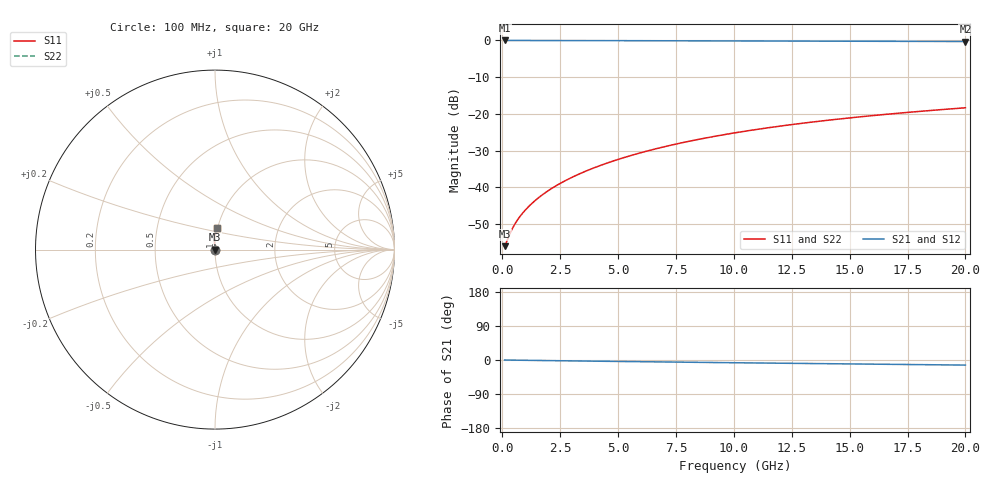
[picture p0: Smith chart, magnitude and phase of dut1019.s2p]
! Touchstone file exported from HFSS 2024.1.0
!  File:  C:/UserFiles/LocalFiles/RDL_TSV_Batchsim/temp_RDL_bottom_1019_1780050682.aedt
!  Generated:  06:33:29 PM May 29, 2026
!  Design:  RDL_bottom
!  Project:  temp_RDL_bottom_1019_1780050682
!  Setup:  Setup1
!  Solution:  Sweep
! Variables:
!  dtsv = 10.80580581um
!  hbump = 3um
!  htsv = 89.97um
!  ldown = 182.36um
!  lrdl = 100um
!  p = 40
!  p1 = 44.68um
!  rhole = 1um
!  t = 450um
!  tdown = 2.18um
!  trdl = 3.915915916um
!  wdown = 28.58um
!  wrdl = 20um
# GHz S MA R 50.000000
! Terminal data exported
! Port[1] = RDL1_T1
! Port[2] = RDL1_T2
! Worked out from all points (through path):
!   200 points, 100 MHz to 20 GHz, reference 50 ohm
!   highest |S21| = -0.01 dB at 100 MHz (marker M1); lowest = -0.3 dB at 20 GHz (marker M2)
!   group delay of S21, straight-line fit = 1.84 ps
!   lowest |S11| = -56.0 dB at 100 MHz (marker M3), VSWR 1.00, Z = 50.1 + j0.054 ohm
!   |S11| at or under -10 dB: start of sweep to end of sweep
!   |S22| runs from -56.0 to -18.3 dB; largest |S21 - S12| = 5.1e-15
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0.1  0.001578 19.9  0.9985 -0.1  0.9985 -0.1  0.001578 19.9
! Gamma 0 0 0 0
! Port Impedance 50 0 50 0
0.4  0.002606 50.7  0.9983 -0.3  0.9983 -0.3  0.002606 50.7
0.5  0.002994 55.4  0.9982 -0.4  0.9982 -0.4  0.002994 55.4
0.6  0.003379 59.1  0.9981 -0.5  0.9981 -0.5  0.003379 59.1
0.7  0.003763 62.1  0.998 -0.6  0.998 -0.6  0.003763 62.1
0.9  0.004534 66.9  0.9979 -0.7  0.9979 -0.7  0.004534 66.9
1.2  0.005714 72.3  0.9976 -1.0  0.9976 -1.0  0.005714 72.3
1.4  0.006523 75.1  0.9975 -1.1  0.9975 -1.1  0.006523 75.1
1.7  0.00777 78.5  0.9972 -1.4  0.9972 -1.4  0.00777 78.5
2.2  0.009937 82.6  0.9967 -1.7  0.9967 -1.7  0.009937 82.6
2.8  0.01268 86.1  0.9959 -2.2  0.9959 -2.2  0.01268 86.1
3.5  0.01606 89.0  0.9949 -2.7  0.9949 -2.7  0.01606 89.0
4.2  0.01964 90.9  0.9937 -3.2  0.9937 -3.2  0.01964 90.9
5  0.02396 92.4  0.9923 -3.8  0.9923 -3.8  0.02396 92.4
5.9  0.02909 93.4  0.9905 -4.5  0.9905 -4.5  0.02909 93.4
6.8  0.03446 93.9  0.9888 -5.1  0.9888 -5.1  0.03446 93.9
8.4  0.04446 93.9  0.9856 -6.2  0.9856 -6.2  0.04446 93.9
10.1  0.0555 93.1  0.9823 -7.3  0.9823 -7.3  0.0555 93.1
11.7  0.0661 91.9  0.9794 -8.3  0.9794 -8.3  0.0661 91.9
13.4  0.07743 90.5  0.9765 -9.4  0.9765 -9.4  0.07743 90.5
16.7  0.09936 87.6  0.9712 -11.4  0.9712 -11.4  0.09936 87.6
20  0.1209 84.7  0.9662 -13.4  0.9662 -13.4  0.1209 84.7
